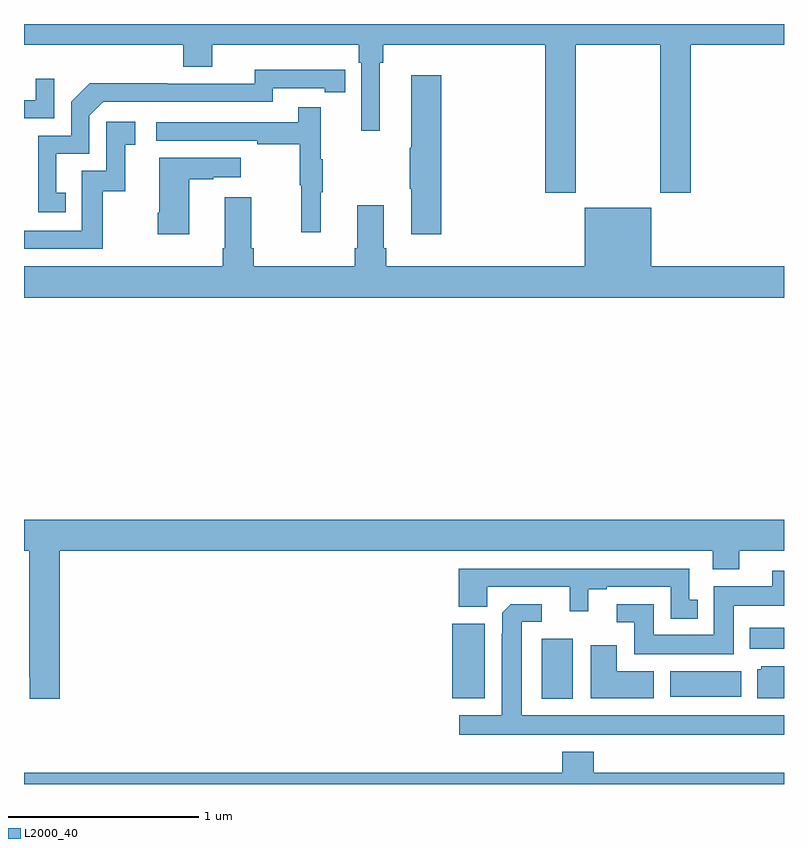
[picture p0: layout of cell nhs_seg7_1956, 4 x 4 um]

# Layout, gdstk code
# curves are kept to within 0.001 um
import gdstk
lib = gdstk.Library(unit=1e-6, precision=1e-09)
def R(c, l, rs):  # rectangles x0, y0, x1, y1
    for r in rs: c.add(gdstk.rectangle(r[:2], r[2:], *l))
def P(c, l, *ps):  # polygons
    for p in ps: c.add(gdstk.Polygon(p, *l))
L2000_40 = (2000, 40)

nhs_seg7_1956 = lib.new_cell('nhs_seg7_1956')
R(nhs_seg7_1956, L2000_40, [(243.725,1054.448,243.889,1054.765), (243.254,1054.451,243.424,1054.843), (244.4,1054.46,244.774,1054.594), (244.82,1054.712,245,1054.822)])
P(nhs_seg7_1956, L2000_40, [(243.903,1057.892),(244.348,1057.892),(244.348,1057.113),(244.508,1057.113),(244.508,1057.892),(245,1057.892),(245,1058),(241,1058),(241,1057.892),(241.838,1057.892),(241.838,1057.775),(241.99,1057.775),(241.99,1057.892),(242.762,1057.892),(242.762,1057.796),(242.775,1057.796),(242.775,1057.437),(242.872,1057.437),(242.872,1057.796),(242.891,1057.796),(242.891,1057.892),(243.743,1057.892),(243.743,1057.113),(243.903,1057.113)],
  [(241.22,1057.113),(241.171,1057.113),(241.171,1057.317),(241.344,1057.317),(241.344,1057.518),(241.416,1057.59),(242.31,1057.59),(242.31,1057.662),(242.582,1057.662),(242.582,1057.642),(242.69,1057.642),(242.69,1057.758),(242.214,1057.759),(242.214,1057.686),(241.754,1057.686),(241.754,1057.688),(241.346,1057.688),(241.248,1057.59),(241.248,1057.413),(241.074,1057.413),(241.074,1057.008),(241.22,1057.008)],
  [(243.197,1057.729),(243.038,1057.729),(243.038,1057.349),(243.031,1057.349),(243.031,1057.132),(243.038,1057.132),(243.038,1056.894),(243.197,1056.894)],
  [(241.158,1057.711),(241.061,1057.711),(241.061,1057.599),(241,1057.599),(241,1057.503),(241.158,1057.503)],
  [(242.561,1057.115),(242.572,1057.115),(242.572,1057.289),(242.561,1057.289),(242.561,1057.561),(242.443,1057.561),(242.443,1057.482),(241.695,1057.482),(241.695,1057.386),(242.227,1057.386),(242.227,1057.366),(242.451,1057.366),(242.451,1057.152),(242.458,1057.152),(242.458,1056.903),(242.561,1056.903)],
  [(241.414,1057.119),(241.532,1057.119),(241.532,1057.365),(241.585,1057.365),(241.585,1057.486),(241.434,1057.486),(241.434,1057.227),(241.305,1057.227),(241.305,1056.912),(241,1056.912),(241,1056.816),(241.414,1056.816)],
  [(241.87,1057.183),(241.997,1057.183),(241.997,1057.193),(242.14,1057.193),(242.14,1057.297),(241.712,1057.297),(241.712,1057.006),(241.705,1057.006),(241.705,1056.894),(241.87,1056.894)],
  [(245,1056.724),(244.3,1056.724),(244.3,1057.033),(243.95,1057.033),(243.95,1056.724),(242.906,1056.724),(242.906,1056.82),(242.893,1056.82),(242.893,1057.045),(242.753,1057.045),(242.753,1056.82),(242.741,1056.82),(242.741,1056.724),(242.21,1056.724),(242.21,1056.82),(242.197,1056.82),(242.197,1057.087),(242.057,1057.087),(242.057,1056.82),(242.045,1056.82),(242.045,1056.724),(241,1056.724),(241,1056.56),(245,1056.56)],
  [(241.187,1055.228),(244.625,1055.228),(244.625,1055.129),(244.765,1055.129),(244.765,1055.228),(245,1055.228),(245,1055.392),(241,1055.392),(241,1055.228),(241.027,1055.228),(241.027,1054.561),(241.031,1054.561),(241.031,1054.449),(241.187,1054.449)],
  [(244.546,1054.971),(244.5,1054.971),(244.5,1055.133),(243.287,1055.133),(243.287,1054.934),(243.438,1054.934),(243.438,1055.037),(243.872,1055.037),(243.872,1054.908),(243.97,1054.908),(243.97,1055.025),(244.066,1055.025),(244.066,1055.037),(244.404,1055.037),(244.404,1054.871),(244.546,1054.871)],
  [(244.735,1054.937),(245,1054.937),(245,1055.122),(244.937,1055.122),(244.937,1055.041),(244.631,1055.041),(244.631,1054.786),(244.315,1054.786),(244.315,1054.947),(244.119,1054.947),(244.119,1054.851),(244.211,1054.851),(244.211,1054.682),(244.735,1054.682)],
  [(245,1054.363),(243.619,1054.363),(243.619,1054.854),(243.724,1054.854),(243.724,1054.947),(243.562,1054.947),(243.516,1054.901),(243.515,1054.363),(243.291,1054.363),(243.291,1054.259),(245,1054.259)],
  [(244.315,1054.594),(244.12,1054.594),(244.12,1054.729),(243.983,1054.729),(243.983,1054.451),(244.315,1054.451)],
  [(245,1054.621),(244.881,1054.621),(244.881,1054.605),(244.859,1054.605),(244.859,1054.451),(245,1054.451)],
  [(245,1054.06),(243.998,1054.06),(243.998,1054.171),(243.833,1054.171),(243.833,1054.06),(241,1054.06),(241,1054),(245,1054)])

lib.write_gds('nhs_seg7_1956.gds')
